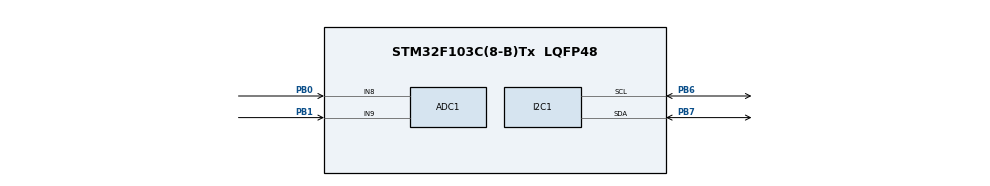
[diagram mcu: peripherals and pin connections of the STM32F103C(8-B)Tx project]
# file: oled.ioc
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ADC1.Channel-0\#ChannelRegularConversion=ADC_CHANNEL_9
ADC1.ContinuousConvMode=DISABLE
ADC1.NbrOfConversionFlag=1
ADC1.Rank-0\#ChannelRegularConversion=1
ADC1.SamplingTime-0\#ChannelRegularConversion=ADC_SAMPLETIME_1CYCLE_5
ADC1.master=1
I2C1.I2C_Mode=I2C_Fast
Mcu.Family=STM32F1
Mcu.Name=STM32F103C(8-B)Tx
Mcu.Package=LQFP48
NVIC.PriorityGroup=NVIC_PRIORITYGROUP_4
PA13.Mode=Serial_Wire
PA13.Signal=SYS_JTMS-SWDIO
PA14.Mode=Serial_Wire
PA14.Signal=SYS_JTCK-SWCLK
PB0.Signal=ADCx_IN8
PB1.Signal=ADCx_IN9
PB6.Mode=I2C
PB6.Signal=I2C1_SCL
PB7.Mode=I2C
PB7.Signal=I2C1_SDA
ProjectManager.HeapSize=0x200
ProjectManager.StackSize=0x400
ProjectManager.TargetToolchain=MDK-ARM V5.32
RCC.APB1Freq_Value=8000000
RCC.APB2Freq_Value=8000000
SH.ADCx_IN8.0=ADC1_IN8,IN8
SH.ADCx_IN9.0=ADC1_IN9,IN9
board=custom

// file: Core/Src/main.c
/* USER CODE BEGIN Header */
/**
  ******************************************************************************
  * @file           : main.c
  * @brief          : Soil moisture + AHT20 + GY-30 + ML urgency
  ******************************************************************************
  */
/* USER CODE END Header */

#include "main.h"

/* USER CODE BEGIN Includes */
#include "fonts.h"
#include "ssd1306.h"
/* USER CODE END Includes */

/* USER CODE BEGIN PTD */

typedef enum
{
    URGENCY_NOT_URGENT = 0,
    URGENCY_SOON = 1,
    URGENCY_URGENT = 2
} UrgencyClass;

/* USER CODE END PTD */

/* Private define
/* USER CODE BEGIN PD */

/* AHT20 I2C address */
#define AHT20_ADDR (0x38 << 1)

/* GY-30 / BH1750 I2C address */
#define GY30_ADDR (0x23 << 1)

/* BH1750 continuous high resolution mode */
#define GY30_CONTINUOUS_HIGH_RES 0x10

/*
 * Fallback values.
 * Real sensor values are used when communication is working.
 */
#define TEST_TEMP 25.0f
#define TEST_HUMIDITY    50.0f
#define TEST_LIGHT       500.0f

/*
 * Other ML inputs currently have no physical sensor.
 */
#define TEST_TREND       0.0f
#define TEST_HOUR        12.0f

/* USER CODE END PD */

ADC_HandleTypeDef hadc1;

I2C_HandleTypeDef hi2c1;

/* USER CODE BEGIN PV */

uint16_t readValue;

float temperature_C;
float humidity_pct;
float soil_moisture_pct;

float moisture_trend;
float light_lux;
float hour_of_day;

UrgencyClass urgency;

uint8_t aht20_ok;
uint8_t gy30_ok;

/* USER CODE END PV */

void SystemClock_Config(void);
static void MX_GPIO_Init(void);
static void MX_I2C1_Init(void);
static void MX_ADC1_Init(void);

/* USER CODE BEGIN PFP */

uint8_t AHT20_Init(void);
uint8_t AHT20_Read(float *temperature, float *humidity);

uint8_t GY30_Init(void);
uint8_t GY30_Read(float *light_lux);

float ADC_To_Moisture(uint16_t adc);

UrgencyClass predict_urgency(
    float temperature_C,
    float humidity_pct,
    float soil_moisture_pct,
    float moisture_trend,
    float light_lux,
    float hour_of_day
);

/* OLED number functions */

void OLED_Print_Number(uint16_t number);
void OLED_Print_Temperature(float temperature);
void OLED_Print_Humidity(float humidity);
void OLED_Print_Light(float light);

/* USER CODE END PFP */

/* USER CODE BEGIN 0 */

/*
 * AHT20 INITIALIZATION
 *
 */

uint8_t AHT20_Init(void)
{
    uint8_t command;
    uint8_t status;
    uint8_t init_command[3];

    /*
     * Check whether AHT20 responds.
     */
    if (HAL_I2C_IsDeviceReady(
            &hi2c1,
            AHT20_ADDR,
            3,
            100) != HAL_OK)
    {
        return 0;
    }

    /*
     * AHT20 status command.
     *
     * Command = 0x71
     */
    command = 0x71;

    if (HAL_I2C_Master_Transmit(
            &hi2c1,
            AHT20_ADDR,
            &command,
            1,
            100) != HAL_OK)
    {
        return 0;
    }

    /*
     * Receive status byte.
     */
    if (HAL_I2C_Master_Receive(
            &hi2c1,
            AHT20_ADDR,
            &status,
            1,
            100) != HAL_OK)
    {
        return 0;
    }

    /*
     * Calibration enable bit = bit 3.
     */
    if ((status & 0x08) == 0)
    {
        init_command[0] = 0xBE;
        init_command[1] = 0x08;
        init_command[2] = 0x00;

        if (HAL_I2C_Master_Transmit(
                &hi2c1,
                AHT20_ADDR,
                init_command,
                3,
                100) != HAL_OK)
        {
            return 0;
        }

        HAL_Delay(10);
    }

    return 1;
}

/*
 * AHT20 READ TEMPERATURE + HUMIDITY
 *
 */

uint8_t AHT20_Read(float *temperature, float *humidity)
{
    uint8_t command[3];
    uint8_t data[6];

    uint32_t rawHumidity;
    uint32_t rawTemperature;

    /*
     * Start measurement.
     *
     * 0xAC = trigger measurement
     * 0x33 = measurement configuration
     * 0x00
     */
    command[0] = 0xAC;
    command[1] = 0x33;
    command[2] = 0x00;

    if (HAL_I2C_Master_Transmit(
            &hi2c1,
            AHT20_ADDR,
            command,
            3,
            100) != HAL_OK)
    {
        return 0;
    }

    /*
     * Wait for measurement.
     */
    HAL_Delay(80);

    /*
     * Read 6 bytes.
     */
    if (HAL_I2C_Master_Receive(
            &hi2c1,
            AHT20_ADDR,
            data,
            6,
            100) != HAL_OK)
    {
        return 0;
    }

    /*
     * Bit 7 of status byte indicates BUSY.
     */
    if (data[0] & 0x80)
    {
        return 0;
    }

    /*
     * Extract 20-bit humidity value.
     */
    rawHumidity =
        ((uint32_t)data[1] << 12) |
        ((uint32_t)data[2] << 4) |
        ((uint32_t)(data[3] >> 4));

    /*
     * Extract 20-bit temperature value.
     */
    rawTemperature =
        ((uint32_t)(data[3] & 0x0F) << 16) |
        ((uint32_t)data[4] << 8) |
        data[5];

    /*
     * Convert humidity to percentage.
     */
    *humidity =
        ((float)rawHumidity * 100.0f) / 1048576.0f;

    /*
     * Convert temperature to Celsius.
     */
    *temperature =
        (((float)rawTemperature * 200.0f) / 1048576.0f)
        - 50.0f;

    return 1;
}

/*
 * GY-30 / BH1750 INITIALIZATION
 *
 */

uint8_t GY30_Init(void)
{
    uint8_t command;

    /*
     * Check whether GY-30 responds.
     *
     * Default BH1750 address = 0x23.
     */
    if (HAL_I2C_IsDeviceReady(
            &hi2c1,
            GY30_ADDR,
            3,
            100) != HAL_OK)
    {
        return 0;
    }

    /*
     * Start continuous high-resolution measurement.
     *
     * BH1750 command = 0x10
     */
    command = GY30_CONTINUOUS_HIGH_RES;

    if (HAL_I2C_Master_Transmit(
            &hi2c1,
            GY30_ADDR,
            &command,
            1,
            100) != HAL_OK)
    {
        return 0;
    }

    /*
     * Wait for the first measurement.
     */
    HAL_Delay(180);

    return 1;
}

/*
 * GY-30 / BH1750 READ LIGHT
 *
 */

uint8_t GY30_Read(float *light_lux)
{
    uint8_t data[2];
    uint16_t rawLight;

    /*
     * Read 16-bit measurement.
     */
    if (HAL_I2C_Master_Receive(
            &hi2c1,
            GY30_ADDR,
            data,
            2,
            100) != HAL_OK)
    {
        return 0;
    }

    /*
     * Combine high byte and low byte.
     */
    rawLight =
        ((uint16_t)data[0] << 8) |
        data[1];

    /*
     * BH1750 lux conversion.
     */
    *light_lux =
        (float)rawLight / 1.2f;

    return 1;
}

/*
 * SOIL MOISTURE

 * ADC > 2300
 * ADC > 1800
 * ADC > 1500
 * otherwise
 *
 * Representative ML values:
 *
 * >2300       = 12.5%
 * 1801-2300  = 37.5%
 * 1501-1800  = 62.5%
 * <=1500     = 87.5%

 *
 */

float ADC_To_Moisture(uint16_t adc)
{
    if (adc > 2300)
    {
        return 12.5f;
    }
    else if (adc > 1800)
    {
        return 37.5f;
    }
    else if (adc > 1500)
    {
        return 62.5f;
    }
    else
    {
        return 87.5f;
    }
}

/* ============================================================
 * NUMBER PRINTING
 * ============================================================
 *
 * No printf()
 * No sprintf()
 * No stdio.h
 * ============================================================
 */

void OLED_Print_Number(uint16_t number)
{
    char digits[5];
    char digit[2];

    uint8_t i;

    i = 0;

    /*
     * Special case for zero.
     */
    if (number == 0)
    {
        digit[0] = '0';
        digit[1] = '\0';

        SSD1306_Puts(
            digit,
            &Font_7x10,
            1
        );

        return;
    }

    /*
     * Convert number into characters.
     */
    while (number > 0)
    {
        digits[i] = (number % 10) + '0';
        number = number / 10;

        i++;
    }

    /*
     * Print in reverse order.
     */
    while (i > 0)
    {
        i--;

        digit[0] = digits[i];
        digit[1] = '\0';

        SSD1306_Puts(
            digit,
            &Font_7x10,
            1
        );
    }
}

/* ============================================================
 * TEMPERATURE DISPLAY
 * ============================================================
 */

void OLED_Print_Temperature(float temperature)
{
    uint16_t temp;

    if (temperature < 0)
    {
        SSD1306_Puts(
            "-",
            &Font_7x10,
            1
        );

        temp = (uint16_t)((-temperature) + 0.5f);
    }
    else
    {
        temp = (uint16_t)(temperature + 0.5f);
    }

    OLED_Print_Number(temp);

    SSD1306_Puts(
        "C",
        &Font_7x10,
        1
    );
}

/* ============================================================
 * HUMIDITY DISPLAY
 * ============================================================
 */

void OLED_Print_Humidity(float humidity)
{
    uint16_t hum;

    if (humidity < 0)
    {
        humidity = 0;
    }

    if (humidity > 100)
    {
        humidity = 100;
    }

    hum = (uint16_t)(humidity + 0.5f);

    OLED_Print_Number(hum);

    SSD1306_Puts(
        "%",
        &Font_7x10,
        1
    );
}

/* ============================================================
 * LIGHT DISPLAY
 * ============================================================
 */

void OLED_Print_Light(float light)
{
    uint16_t lux;

    if (light < 0)
    {
        light = 0;
    }

    if (light > 65535.0f)
    {
        light = 65535.0f;
    }

    lux = (uint16_t)(light + 0.5f);

    OLED_Print_Number(lux);

    SSD1306_Puts(
        "lx",
        &Font_7x10,
        1
    );
}

/* ============================================================
 *  TRAINED DECISION TREE
 * ============================================================
 */

UrgencyClass predict_urgency(
    float temperature_C,
    float humidity_pct,
    float soil_moisture_pct,
    float moisture_trend,
    float light_lux,
    float hour_of_day)
{

    (void)moisture_trend;
    (void)hour_of_day;

    if (soil_moisture_pct <= 46.6250f)
    {
        if (soil_moisture_pct <= 45.9400f)
        {
            if (humidity_pct <= 50.1400f)
            {
                if (humidity_pct <= 50.0600f)
                {
                    return URGENCY_URGENT;
                }
                else
                {
                    return URGENCY_SOON;
                }
            }
            else
            {
                return URGENCY_URGENT;
            }
        }
        else
        {
            if (light_lux <= 190.7500f)
            {
                return URGENCY_SOON;
            }
            else
            {
                return URGENCY_URGENT;
            }
        }
    }
    else
    {
        if (soil_moisture_pct <= 68.1900f)
        {
            if (soil_moisture_pct <= 48.9700f)
            {
                if (light_lux <= 3906.4501f)
                {
                    return URGENCY_SOON;
                }
                else
                {
                    return URGENCY_URGENT;
                }
            }
            else
            {
                if (soil_moisture_pct <= 66.4250f)
                {
                    return URGENCY_SOON;
                }
                else
                {
                    if (humidity_pct <= 54.5350f)
                    {
                        return URGENCY_NOT_URGENT;
                    }
                    else
                    {
                        return URGENCY_SOON;
                    }
                }
            }
        }
        else
        {
            if (soil_moisture_pct <= 71.9150f)
            {
                if (temperature_C <= 28.4100f)
                {
                    return URGENCY_NOT_URGENT;
                }
                else
                {
                    if (humidity_pct <= 53.6000f)
                    {
                        return URGENCY_NOT_URGENT;
                    }
                    else
                    {
                        return URGENCY_SOON;
                    }
                }
            }
            else
            {
                if (soil_moisture_pct <= 72.4500f)
                {
                    if (soil_moisture_pct <= 72.4100f)
                    {
                        return URGENCY_NOT_URGENT;
                    }
                    else
                    {
                        return URGENCY_SOON;
                    }
                }
                else
                {
                    return URGENCY_NOT_URGENT;
                }
            }
        }
    }
}

/* USER CODE END 0 */

int main(void)
{

    /* MCU Configuration--------------------------------------------------------*/

    HAL_Init();

    /* Configure the system clock */
    SystemClock_Config();

    /* Initialize all configured peripherals */
    MX_GPIO_Init();
    MX_I2C1_Init();
    MX_ADC1_Init();

    /* USER CODE BEGIN 2 */

    /*
     * OLED initialization.
     */
    SSD1306_Init();

    /*
     * AHT20 initialization.
     */
    aht20_ok = AHT20_Init();

    /*
     * GY-30 initialization.
     */
    gy30_ok = GY30_Init();

    /*
     * Initial values.
     */
    temperature_C = TEST_TEMP;
    humidity_pct = TEST_HUMIDITY;
    light_lux = TEST_LIGHT;

    moisture_trend = TEST_TREND;
    hour_of_day = TEST_HOUR;

    /*
     * IMPORTANT:
     *
     * ADC continuous conversion is DISABLED.
     *
     * Therefore ADC_Start() is called for every
     * individual soil measurement inside the loop.
     */

    /* USER CODE END 2 */

    /* Infinite loop */

    while (1)
    {

        /* USER CODE BEGIN 3 */

        /* ========================================================
         * SOIL MOISTURE
         * ========================================================
         *
         * Continuous conversion = DISABLED
         *
         * One reading:
         *
         * Start
         * Poll
         * GetValue
         * Stop
         */

        if (HAL_ADC_Start(&hadc1) == HAL_OK)
        {
            if (HAL_ADC_PollForConversion(
                    &hadc1,
                    1000) == HAL_OK)
            {
                readValue = HAL_ADC_GetValue(&hadc1);

                soil_moisture_pct =
                    ADC_To_Moisture(readValue);
            }

            HAL_ADC_Stop(&hadc1);
        }

        /* ========================================================
         * AHT20
         * ========================================================
         */

        if (aht20_ok)
        {
            if (AHT20_Read(
                    &temperature_C,
                    &humidity_pct) == 0)
            {
                /*
                 * Keep the previous valid value.
                 */
            }
        }
        else
        {
            /*
             * Try to reconnect.
             */
            aht20_ok = AHT20_Init();
        }

        /*
         * GY-30
         *
         */

        if (gy30_ok)
        {
            if (GY30_Read(&light_lux) == 0)
            {
                /*
                 * Keep the previous valid light value.
                 */
            }
        }
        else
        {
            /*
             * Try to reconnect.
             */
            gy30_ok = GY30_Init();
        }

        /* ========================================================
         * ML PREDICTION
         * ========================================================
         */

        urgency = predict_urgency(
            temperature_C,
            humidity_pct,
            soil_moisture_pct,
            moisture_trend,
            light_lux,
            hour_of_day
        );

        /* ========================================================
         * OLED
         * ========================================================
         *
         * Line 1 = Temperature
         * Line 2 = Humidity
         * Line 3 = Moisture
         * Line 4 = Light
         * Line 5 = Urgency
         */

        SSD1306_Fill(0);

        /* --------------------------------------------------------
         * TEMPERATURE
         * --------------------------------------------------------
         */

        SSD1306_GotoXY(0, 0);

        SSD1306_Puts(
            "T:",
            &Font_7x10,
            1
        );

        OLED_Print_Temperature(temperature_C);

        /* --------------------------------------------------------
         * HUMIDITY
         * --------------------------------------------------------
         */

        SSD1306_GotoXY(0, 12);

        SSD1306_Puts(
            "H:",
            &Font_7x10,
            1
        );

        OLED_Print_Humidity(humidity_pct);

        /* --------------------------------------------------------
         * SOIL MOISTURE
         * --------------------------------------------------------
         */

        SSD1306_GotoXY(0, 24);

        SSD1306_Puts(
            "MOIST:",
            &Font_7x10,
            1
        );

        /*
         * Four original soil moisture bands.
         */
        if (soil_moisture_pct <= 25.0f)
        {
            SSD1306_Puts(
                "0-25%",
                &Font_7x10,
                1
            );
        }
        else if (soil_moisture_pct <= 50.0f)
        {
            SSD1306_Puts(
                "26-50%",
                &Font_7x10,
                1
            );
        }
        else if (soil_moisture_pct <= 75.0f)
        {
            SSD1306_Puts(
                "51-75%",
                &Font_7x10,
                1
            );
        }
        else
        {
            SSD1306_Puts(
                "76-100%",
                &Font_7x10,
                1
            );
        }

        /* --------------------------------------------------------
         * LIGHT
         * --------------------------------------------------------
         */

        SSD1306_GotoXY(0, 36);

        SSD1306_Puts(
            "LIGHT:",
            &Font_7x10,
            1
        );

        OLED_Print_Light(light_lux);

        /* --------------------------------------------------------
         * URGENCY
         * --------------------------------------------------------
         */

        SSD1306_GotoXY(0, 48);

        SSD1306_Puts(
            "URG:",
            &Font_7x10,
            1
        );

        if (urgency == URGENCY_NOT_URGENT)
        {
            SSD1306_Puts(
                "NOT URGENT",
                &Font_7x10,
                1
            );
        }
        else if (urgency == URGENCY_SOON)
        {
            SSD1306_Puts(
                "SOON",
                &Font_7x10,
                1
            );
        }
        else
        {
            SSD1306_Puts(
                "URGENT",
                &Font_7x10,
                1
            );
        }

        SSD1306_UpdateScreen();

        /*
         * Update every 500 ms.
         */
        HAL_Delay(500);
    }

    /* USER CODE END 3 */
}

void SystemClock_Config(void)
{
    RCC_OscInitTypeDef RCC_OscInitStruct = {0};
    RCC_ClkInitTypeDef RCC_ClkInitStruct = {0};
    RCC_PeriphCLKInitTypeDef PeriphClkInit = {0};

    /** Initializes the RCC Oscillators
      */
    RCC_OscInitStruct.OscillatorType = RCC_OSCILLATORTYPE_HSI;
    RCC_OscInitStruct.HSIState = RCC_HSI_ON;
    RCC_OscInitStruct.HSICalibrationValue =
        RCC_HSICALIBRATION_DEFAULT;

    RCC_OscInitStruct.PLL.PLLState =
        RCC_PLL_NONE;

    if (HAL_RCC_OscConfig(
            &RCC_OscInitStruct) != HAL_OK)
    {
        Error_Handler();
    }

    /** Initializes the CPU, AHB and APB buses clocks
      */
    RCC_ClkInitStruct.ClockType =
        RCC_CLOCKTYPE_HCLK |
        RCC_CLOCKTYPE_SYSCLK |
        RCC_CLOCKTYPE_PCLK1 |
        RCC_CLOCKTYPE_PCLK2;

    RCC_ClkInitStruct.SYSCLKSource =
        RCC_SYSCLKSOURCE_HSI;

    RCC_ClkInitStruct.AHBCLKDivider =
        RCC_SYSCLK_DIV1;

    RCC_ClkInitStruct.APB1CLKDivider =
        RCC_HCLK_DIV1;

    RCC_ClkInitStruct.APB2CLKDivider =
        RCC_HCLK_DIV1;

    if (HAL_RCC_ClockConfig(
            &RCC_ClkInitStruct,
            FLASH_LATENCY_0) != HAL_OK)
    {
        Error_Handler();
    }

    PeriphClkInit.PeriphClockSelection =
        RCC_PERIPHCLK_ADC;

    PeriphClkInit.AdcClockSelection =
        RCC_ADCPCLK2_DIV2;

    if (HAL_RCCEx_PeriphCLKConfig(
            &PeriphClkInit) != HAL_OK)
    {
        Error_Handler();
    }
}

static void MX_ADC1_Init(void)
{
    ADC_ChannelConfTypeDef sConfig = {0};

    /** Common config
      */

    hadc1.Instance = ADC1;

    hadc1.Init.ScanConvMode =
        ADC_SCAN_DISABLE;

    /*
     * CONTINUOUS READING DISABLED
     */
    hadc1.Init.ContinuousConvMode =
        DISABLE;

    hadc1.Init.DiscontinuousConvMode =
        DISABLE;

    hadc1.Init.ExternalTrigConv =
        ADC_SOFTWARE_START;

    hadc1.Init.DataAlign =
        ADC_DATAALIGN_RIGHT;

    hadc1.Init.NbrOfConversion =
        1;

    if (HAL_ADC_Init(&hadc1) != HAL_OK)
    {
        Error_Handler();
    }

    /** Configure Regular Channel
      */

    sConfig.Channel =
        ADC_CHANNEL_9;

    sConfig.Rank =
        ADC_REGULAR_RANK_1;

    sConfig.SamplingTime =
        ADC_SAMPLETIME_1CYCLE_5;

    if (HAL_ADC_ConfigChannel(
            &hadc1,
            &sConfig) != HAL_OK)
    {
        Error_Handler();
    }

}

static void MX_I2C1_Init(void)
{

    hi2c1.Instance = I2C1;

    hi2c1.Init.ClockSpeed =
        400000;

    hi2c1.Init.DutyCycle =
        I2C_DUTYCYCLE_2;

    hi2c1.Init.OwnAddress1 =
        0;

    hi2c1.Init.AddressingMode =
        I2C_ADDRESSINGMODE_7BIT;

    hi2c1.Init.DualAddressMode =
        I2C_DUALADDRESS_DISABLE;

    hi2c1.Init.OwnAddress2 =
        0;

    hi2c1.Init.GeneralCallMode =
        I2C_GENERALCALL_DISABLE;

    hi2c1.Init.NoStretchMode =
        I2C_NOSTRETCH_DISABLE;

    if (HAL_I2C_Init(&hi2c1) != HAL_OK)
    {
        Error_Handler();
    }

}

static void MX_GPIO_Init(void)
{

    /* GPIO Ports Clock Enable */

    __HAL_RCC_GPIOB_CLK_ENABLE();
    __HAL_RCC_GPIOA_CLK_ENABLE();

}

void Error_Handler(void)
{
    __disable_irq();
    while (1)
    {
    }
}

#ifdef USE_FULL_ASSERT

/**
  * @brief  Reports the name of the source file and the source line number
  * @param  file: pointer to the source file name
  * @param  line: assert_param error source line number
  */
void assert_failed(uint8_t *file, uint32_t line)
{
    /* USER CODE BEGIN 6 */

    /*
     * No printf() or sprintf().
     */

    (void)file;
    (void)line;

    /* USER CODE END 6 */
}

#endif /* USE_FULL_ASSERT */
